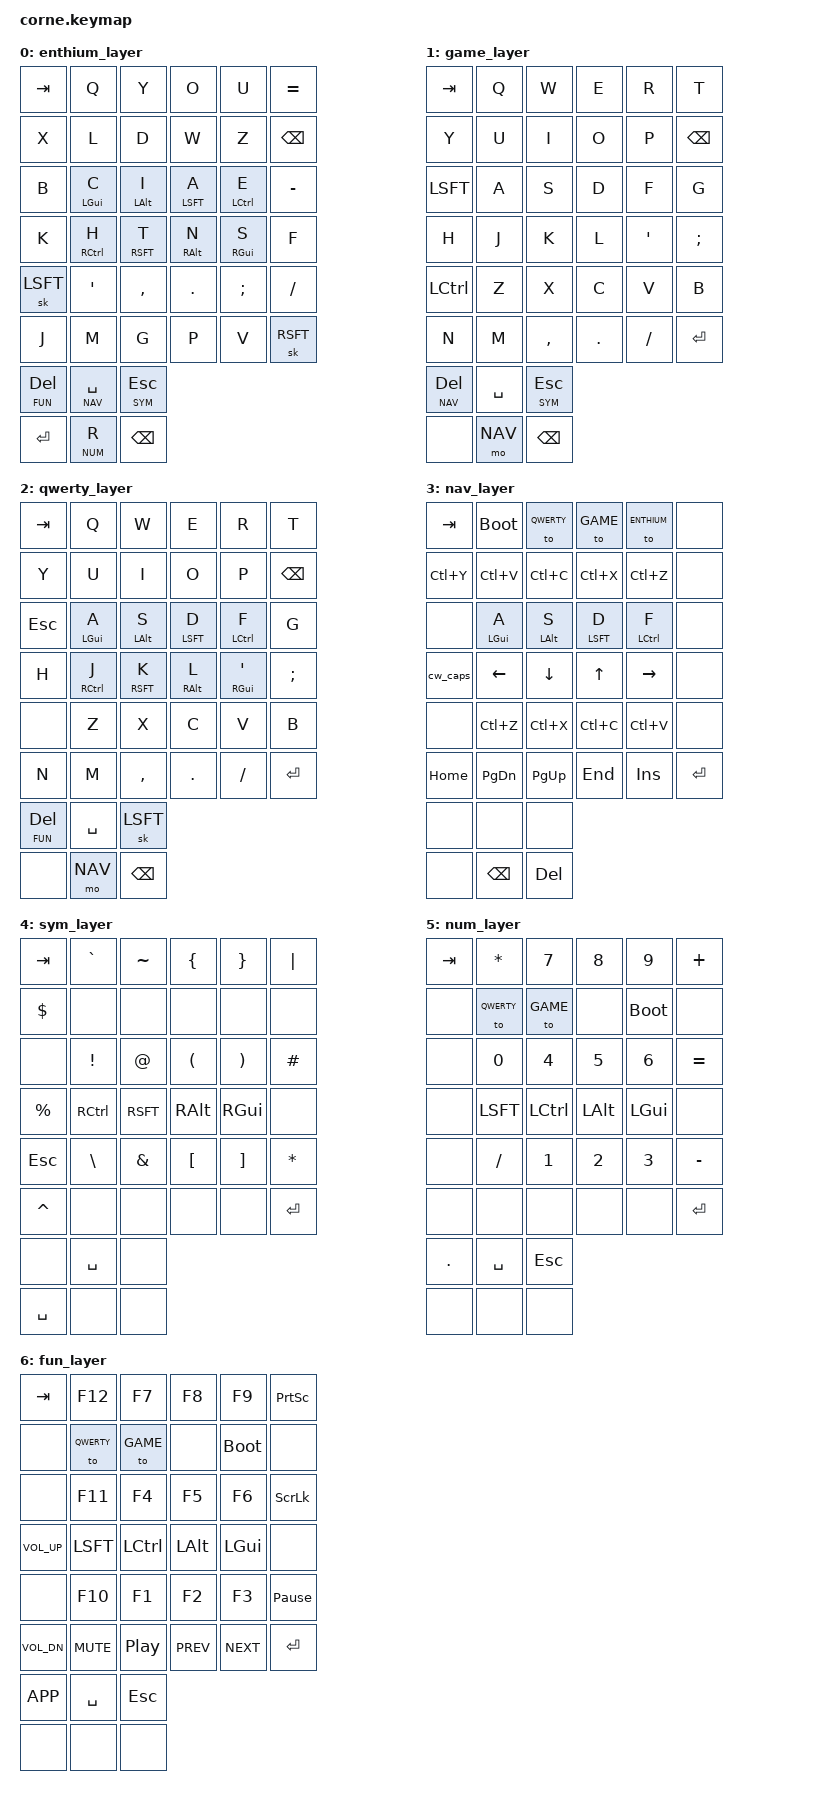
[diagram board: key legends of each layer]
// Copyright 2024 wk
// SPDX-License-Identifier: MIT

#include <behaviors.dtsi>
#include <dt-bindings/zmk/keys.h>
#include <dt-bindings/zmk/bt.h>

#define ENTHIUM 0
#define GAME    1
#define QWERTY  2
#define NAV     3
#define SYM     4
#define NUM     5
#define FUN     6

// Key positions (corne 3x6+3):
//  0  1  2  3  4  5    6  7  8  9 10 11
// 12 13 14 15 16 17   18 19 20 21 22 23
// 24 25 26 27 28 29   30 31 32 33 34 35
//             36 37 38   39 40 41

/ {
    behaviors {
        // Shift+cw_caps = caps lock, plain = caps word (mirrors QMK CW_CAPS)
        cw_caps: cw_caps {
            compatible = "zmk,behavior-mod-morph";
            #binding-cells = <0>;
            bindings = <&caps_word>, <&kp CAPS>;
            mods = <(MOD_LSFT|MOD_RSFT)>;
        };

        // Tune mod-tap globally: require idle time before hold triggers,
        // which approximates QMK's chordal hold / flow tap behavior.
        mt {
            flavor = "balanced";
            tapping-term-ms = <220>;
            require-prior-idle-ms = <150>;
        };

        lt {
            flavor = "balanced";
            tapping-term-ms = <220>;
        };
    };

    combos {
        compatible = "zmk,combos";

        // Bottom row left: 24=sk(LSFT) 25=SQT 26=COMMA 27=DOT 28=SEMI 29=FSLH
        combo_copy {
            timeout-ms = <50>;
            key-positions = <26 27>;
            bindings = <&kp LC(C)>;
        };
        combo_shift_copy {
            timeout-ms = <50>;
            key-positions = <25 26 27>;
            bindings = <&kp LC(LS(C))>;
        };
        combo_paste {
            timeout-ms = <50>;
            key-positions = <27 28>;
            bindings = <&kp LC(V)>;
        };
        combo_shift_paste {
            timeout-ms = <50>;
            key-positions = <26 27 28>;
            bindings = <&kp LC(LS(V))>;
        };
    };

    keymap {
        compatible = "zmk,keymap";

        enthium_layer {
            bindings = <
                &kp TAB      &kp Q        &kp Y        &kp O        &kp U        &kp EQUAL
                &kp X        &kp L        &kp D        &kp W        &kp Z        &kp BSPC
                &kp B        &mt LGUI C   &mt LALT I   &mt LSFT A   &mt LCTL E   &kp MINUS
                &kp K        &mt RCTL H   &mt RSFT T   &mt RALT N   &mt RGUI S   &kp F
                &sk LSFT     &kp SQT      &kp COMMA    &kp DOT      &kp SEMI     &kp FSLH
                &kp J        &kp M        &kp G        &kp P        &kp V        &sk RSFT
                &lt FUN DEL  &lt NAV SPACE  &lt SYM ESC
                &kp RET      &lt NUM R      &kp BSPC
            >;
        };

        game_layer {
            bindings = <
                &kp TAB      &kp Q    &kp W      &kp E    &kp R    &kp T
                &kp Y        &kp U    &kp I      &kp O    &kp P    &kp BSPC
                &kp LSFT     &kp A    &kp S      &kp D    &kp F    &kp G
                &kp H        &kp J    &kp K      &kp L    &kp SQT  &kp SEMI
                &kp LCTL     &kp Z    &kp X      &kp C    &kp V    &kp B
                &kp N        &kp M    &kp COMMA  &kp DOT  &kp FSLH &kp RET
                &lt NAV DEL  &kp SPACE  &lt SYM ESC
                &none        &mo NAV    &kp BSPC
            >;
        };

        qwerty_layer {
            bindings = <
                &kp TAB      &kp Q       &kp W       &kp E        &kp R        &kp T
                &kp Y        &kp U       &kp I       &kp O        &kp P        &kp BSPC
                &kp ESC      &mt LGUI A  &mt LALT S  &mt LSFT D   &mt LCTL F   &kp G
                &kp H        &mt RCTL J  &mt RSFT K  &mt RALT L   &mt RGUI SQT &kp SEMI
                &none        &kp Z       &kp X       &kp C        &kp V        &kp B
                &kp N        &kp M       &kp COMMA   &kp DOT      &kp FSLH     &kp RET
                &lt FUN DEL  &kp SPACE   &sk LSFT
                &none        &mo NAV     &kp BSPC
            >;
        };

        nav_layer {
            bindings = <
                &kp TAB   &bootloader  &to QWERTY   &to GAME    &to ENTHIUM  &none
                &kp LC(Y) &kp LC(V)    &kp LC(C)    &kp LC(X)   &kp LC(Z)    &none
                &none     &mt LGUI A   &mt LALT S   &mt LSFT D  &mt LCTL F   &none
                &cw_caps  &kp LEFT     &kp DOWN     &kp UP      &kp RIGHT    &none
                &none     &kp LC(Z)    &kp LC(X)    &kp LC(C)   &kp LC(V)    &none
                &kp HOME  &kp PG_DN    &kp PG_UP    &kp END     &kp INS      &kp RET
                &none     &none        &none
                &none     &kp BSPC     &kp DEL
            >;
        };

        sym_layer {
            bindings = <
                &kp TAB   &kp GRAVE  &kp TILDE  &kp LBRC   &kp RBRC   &kp PIPE
                &kp DLLR  &none      &none      &none      &none      &none
                &none     &kp EXCL   &kp AT     &kp LPAR   &kp RPAR   &kp HASH
                &kp PRCNT &kp RCTL   &kp RSFT   &kp RALT   &kp RGUI   &none
                &kp ESC   &kp BSLH   &kp AMPS   &kp LBKT   &kp RBKT   &kp ASTRK
                &kp CARET &none      &none      &none      &none      &kp RET
                &none     &kp SPACE  &none
                &kp SPACE &none      &none
            >;
        };

        num_layer {
            bindings = <
                &kp TAB   &kp ASTRK  &kp N7     &kp N8     &kp N9     &kp PLUS
                &none     &to QWERTY &to GAME   &none      &bootloader &none
                &none     &kp N0     &kp N4     &kp N5     &kp N6     &kp EQUAL
                &none     &kp LSFT   &kp LCTL   &kp LALT   &kp LGUI   &none
                &none     &kp FSLH   &kp N1     &kp N2     &kp N3     &kp MINUS
                &none     &none      &none      &none      &none      &kp RET
                &kp DOT   &kp SPACE  &kp ESC
                &none     &none      &none
            >;
        };

        fun_layer {
            bindings = <
                &kp TAB      &kp F12    &kp F7     &kp F8       &kp F9     &kp PSCRN
                &none        &to QWERTY &to GAME   &none        &bootloader &none
                &none        &kp F11    &kp F4     &kp F5       &kp F6     &kp SLCK
                &kp C_VOL_UP &kp LSFT  &kp LCTL   &kp LALT     &kp LGUI   &none
                &none        &kp F10    &kp F1     &kp F2       &kp F3     &kp PAUSE_BREAK
                &kp C_VOL_DN &kp C_MUTE &kp C_PP  &kp C_PREV   &kp C_NEXT &kp RET
                &kp K_APP  &kp SPACE  &kp ESC
                &none      &none      &none
            >;
        };
    };
};
